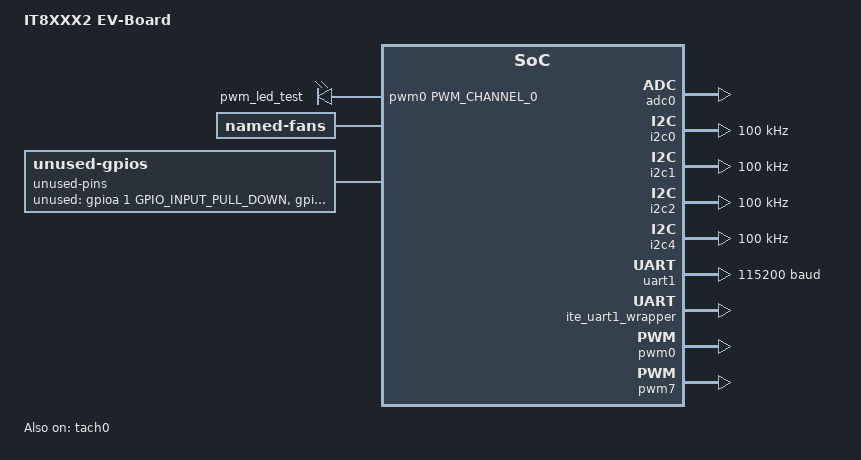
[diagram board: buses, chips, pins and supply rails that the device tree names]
/* Copyright 2021 The Chromium OS Authors. All rights reserved.
 * Use of this source code is governed by a BSD-style license that can be
 * found in the LICENSE file.
 */

/dts-v1/;

#include <cros/ite/it8xxx2.dtsi>
#include <dt-bindings/gpio_defines.h>
#include <it8xxx2.dtsi>

/ {
	model = "IT8XXX2 EV-Board";

	chosen {
		zephyr,sram = &sram0;
		zephyr,console = &uart1;
		zephyr,shell-uart = &uart1;
		zephyr,flash = &flash0;
		zephyr,flash-controller = &flashctrl;
	};

	pwmleds {
		compatible = "pwm-leds";

		/* NOTE: &pwm number needs same with channel number */
		pwm_led_test: pwm_led_test {
			pwms = <&pwm0 PWM_CHANNEL_0 PWM_POLARITY_NORMAL>;
		};
	};

	aliases {
		gpio-wp = &gpio_wp;
	};

	named-gpios {
		compatible = "named-gpios";

		power_button_l: power_button_l {
			gpios = <&gpioe 4 GPIO_INPUT_PULL_UP>;
			enum-name = "GPIO_POWER_BUTTON_L";
		};
		lid_open: lid_open {
			gpios = <&gpioe 2 GPIO_INPUT_PULL_UP>;
			enum-name = "GPIO_LID_OPEN";
		};
		gpio_wp: wp_l {
			gpios = <&gpioi 4 (GPIO_INPUT_PULL_UP |
					   GPIO_ACTIVE_LOW)>;
		};
		pch_pltrst_l {
			gpios = <&gpioe 3 GPIO_INPUT_PULL_UP>;
			enum-name = "GPIO_PCH_RSMRST_L";
		};
		sys_reset_l {
			gpios = <&gpiob 6 GPIO_OUTPUT_HIGH>;
			enum-name = "GPIO_SYS_RESET_L";
		};
		gpio_ec_pch_wake_odl: pch_wake_l {
			gpios = <&gpiob 7 GPIO_OUTPUT_HIGH>;
		};
		i2c_a_scl {
			gpios = <&gpiob 3 GPIO_INPUT>;
		};
		i2c_a_sda {
			gpios = <&gpiob 4 GPIO_INPUT>;
		};
		i2c_b_scl {
			gpios = <&gpioc 1 GPIO_INPUT>;
		};
		i2c_b_sda {
			gpios = <&gpioc 2 GPIO_INPUT>;
		};
		i2c_c_scl {
			gpios = <&gpiof 6 GPIO_INPUT>;
		};
		i2c_c_sda {
			gpios = <&gpiof 7 GPIO_INPUT>;
		};
		i2c_e_scl {
			gpios = <&gpioe 0 GPIO_INPUT>;
		};
		i2c_e_sda {
			gpios = <&gpioe 7 GPIO_INPUT>;
		};

		spi0_cs: spi0_cs {
			gpios = <&gpiom 5 (GPIO_INPUT | GPIO_VOLTAGE_1P8)>;
		};
	};

	hibernate-wake-pins {
		compatible = "cros-ec,hibernate-wake-pins";
		wakeup-irqs = <&int_power_button
			       &int_lid_open>;
	};

	named-adc-channels {
		compatible = "named-adc-channels";

		adc_vbussa: vbussa {
			label = "ADC_VBUSSA";
			enum-name = "ADC_VBUS";
			io-channels = <&adc0 0>;
		};
		adc_vbussb: vbussb {
			label = "ADC_VBUSSB";
			enum-name = "ADC_PSYS";
			io-channels = <&adc0 1>;
		};
		adc_evb_ch_13: evb_ch_13 {
			label = "ADC_EVB_CH_13";
			enum-name = "ADC_AMON_BMON";
			io-channels = <&adc0 2>;
		};
		adc_evb_ch_14: evb_ch_14 {
			label = "ADC_EVB_CH_14";
			enum-name = "ADC_TEMP_SENSOR_FAN";
			io-channels = <&adc0 3>;
		};
		adc_evb_ch_15: evb_ch_15 {
			label = "ADC_EVB_CH_15";
			enum-name = "ADC_TEMP_SENSOR_DDR_SOC";
			io-channels = <&adc0 4>;
		};
		adc_evb_ch_16: evb_ch_16 {
			label = "ADC_EVB_CH_16";
			enum-name = "ADC_TEMP_SENSOR_CHARGER";
			io-channels = <&adc0 5>;
		};
	};

	named-i2c-ports {
		compatible = "named-i2c-ports";

		battery {
			i2c-port = <&i2c2>;
			enum-name = "I2C_PORT_BATTERY";
		};
		evb-1 {
			i2c-port = <&i2c0>;
			enum-name = "I2C_PORT_EVB_1";
		};
		evb-2 {
			i2c-port = <&i2c1>;
			enum-name = "I2C_PORT_EVB_2";
		};
		opt-4 {
			i2c-port = <&i2c4>;
			enum-name = "I2C_PORT_OPT_4";
		};
	};

	named-fans {
		compatible = "named-fans";

		fan_0 {
			label = "FAN_0";
			pwms = <&pwm7 PWM_CHANNEL_7 PWM_POLARITY_NORMAL>;
			pwm-frequency = <30000>;
			tach = <&tach0>;
			rpm_min = <1500>;
			rpm_start = <1500>;
			rpm_max = <6500>;
		};
	};

	unused-pins {
		compatible = "unused-gpios";

		unused-gpios =
			/* gpioa1 */
			<&gpioa 1 GPIO_INPUT_PULL_DOWN>,
			/* gpioa2 */
			<&gpioa 2 GPIO_INPUT_PULL_DOWN>,
			/* gpioa3 */
			<&gpioa 3 GPIO_INPUT_PULL_DOWN>,
			/* gpioa4 */
			<&gpioa 4 GPIO_INPUT_PULL_DOWN>,
			/* gpioa5 */
			<&gpioa 5 GPIO_INPUT_PULL_DOWN>,

			/* gpiob2 */
			<&gpiob 2 GPIO_INPUT_PULL_DOWN>,
			/* gpiob5 */
			<&gpiob 5 GPIO_INPUT_PULL_DOWN>,

			/* gpioc0 */
			<&gpioc 0 GPIO_INPUT_PULL_DOWN>,
			/* gpioc4 */
			<&gpioc 4 GPIO_INPUT_PULL_DOWN>,
			/* gpioc6 */
			<&gpioc 6 GPIO_INPUT_PULL_DOWN>,
			/* gpioc7 */
			<&gpioc 7 GPIO_INPUT_PULL_DOWN>,

			/* gpiod0 */
			<&gpiod 0 GPIO_INPUT_PULL_DOWN>,
			/* gpiod1 */
			<&gpiod 1 GPIO_INPUT_PULL_DOWN>,
			/* gpiod2 */
			<&gpiod 2 GPIO_INPUT_PULL_DOWN>,
			/* gpiod3 */
			<&gpiod 3 GPIO_INPUT_PULL_DOWN>,
			/* gpiod4 */
			<&gpiod 4 GPIO_INPUT_PULL_DOWN>,
			/* gpiod5 */
			<&gpiod 5 GPIO_INPUT_PULL_DOWN>,
			/* gpiod7 */
			<&gpiod 7 GPIO_INPUT_PULL_DOWN>,

			/* gpioe1 */
			<&gpioe 1 GPIO_INPUT_PULL_DOWN>,
			/* gpioe5 */
			<&gpioe 5 GPIO_INPUT_PULL_DOWN>,
			/* gpioe6 */
			<&gpioe 6 GPIO_INPUT_PULL_DOWN>,

			/* gpiof0 */
			<&gpiof 0 GPIO_INPUT_PULL_DOWN>,
			/* gpiof1 */
			<&gpiof 1 GPIO_INPUT_PULL_DOWN>,
			/* gpiof2 */
			<&gpiof 2 GPIO_INPUT_PULL_DOWN>,
			/* gpiof3 */
			<&gpiof 3 GPIO_INPUT_PULL_DOWN>,
			/* gpiof4 */
			<&gpiof 4 GPIO_INPUT_PULL_DOWN>,
			/* gpiof5 */
			<&gpiof 5 GPIO_INPUT_PULL_DOWN>,

			/* gpiog1 */
			<&gpiog 1 GPIO_INPUT_PULL_DOWN>,
			/* gpiog6 */
			<&gpiog 6 GPIO_INPUT_PULL_UP>,

			/* gpioh0 */
			<&gpioh 0 GPIO_INPUT_PULL_DOWN>,
			/* gpioh3 */
			<&gpioh 3 GPIO_INPUT_PULL_DOWN>,
			/* gpioh4 */
			<&gpioh 4 GPIO_INPUT_PULL_DOWN>,
			/* gpioh5 */
			<&gpioh 5 GPIO_INPUT_PULL_DOWN>,
			/* gpioh6 */
			<&gpioh 6 GPIO_INPUT_PULL_DOWN>,

			/* gpioi6 */
			<&gpioi 6 GPIO_INPUT_PULL_DOWN>,
			/* gpioi7 */
			<&gpioi 7 GPIO_INPUT_PULL_DOWN>,

			/* gpioj0 */
			<&gpioj 0 GPIO_INPUT_PULL_DOWN>,
			/* gpioj1 */
			<&gpioj 1 GPIO_INPUT_PULL_DOWN>,
			/* gpioj2 */
			<&gpioj 2 GPIO_INPUT_PULL_DOWN>,
			/* gpioj3 */
			<&gpioj 3 GPIO_INPUT_PULL_DOWN>,
			/* gpioj4 */
			<&gpioj 4 GPIO_INPUT_PULL_DOWN>,
			/* gpioj5 */
			<&gpioj 5 GPIO_INPUT_PULL_DOWN>,
			/* gpioj6 */
			<&gpioj 6 GPIO_OUTPUT_LOW>,
			/* gpioj7 */
			<&gpioj 7 GPIO_OUTPUT_LOW>,

			/* gpiom0 */
			<&gpiom 0 GPIO_INPUT_PULL_DOWN>,
			/* gpiom1 */
			<&gpiom 1 GPIO_INPUT_PULL_DOWN>,
			/* gpiom2 */
			<&gpiom 2 GPIO_INPUT_PULL_DOWN>,
			/* gpiom3 */
			<&gpiom 3 GPIO_INPUT_PULL_DOWN>,
			/* gpiom4 */
			<&gpiom 4 GPIO_INPUT_PULL_DOWN>,
			/* gpiom6 */
			<&gpiom 6 GPIO_INPUT_PULL_DOWN>;
	};
};

&adc0 {
	status = "okay";
};

&i2c0 {
	status = "okay";
	clock-frequency = <I2C_BITRATE_STANDARD>;
};

&i2c1 {
	status = "okay";
	clock-frequency = <I2C_BITRATE_STANDARD>;
};

&i2c2 {
	status = "okay";
	clock-frequency = <I2C_BITRATE_STANDARD>;
};

&i2c4 {
	status = "okay";
	clock-frequency = <I2C_BITRATE_STANDARD>;
};

&uart1 {
	status = "okay";
	current-speed = <115200>;
	clock-frequency = <1804800>;
};

&ite_uart1_wrapper {
	status = "okay";
};

/* pwm for test */
&pwm0 {
	status = "okay";
	prescaler-cx = <PWM_PRESCALER_C6>;
};

/* pwm for fan */
&pwm7 {
	status = "okay";
	prescaler-cx = <PWM_PRESCALER_C4>;
};

/* fan tachometer sensor */
&tach0 {
	status = "okay";
	channel = <IT8XXX2_TACH_CHANNEL_A>;
	pulses-per-round = <2>;
};
